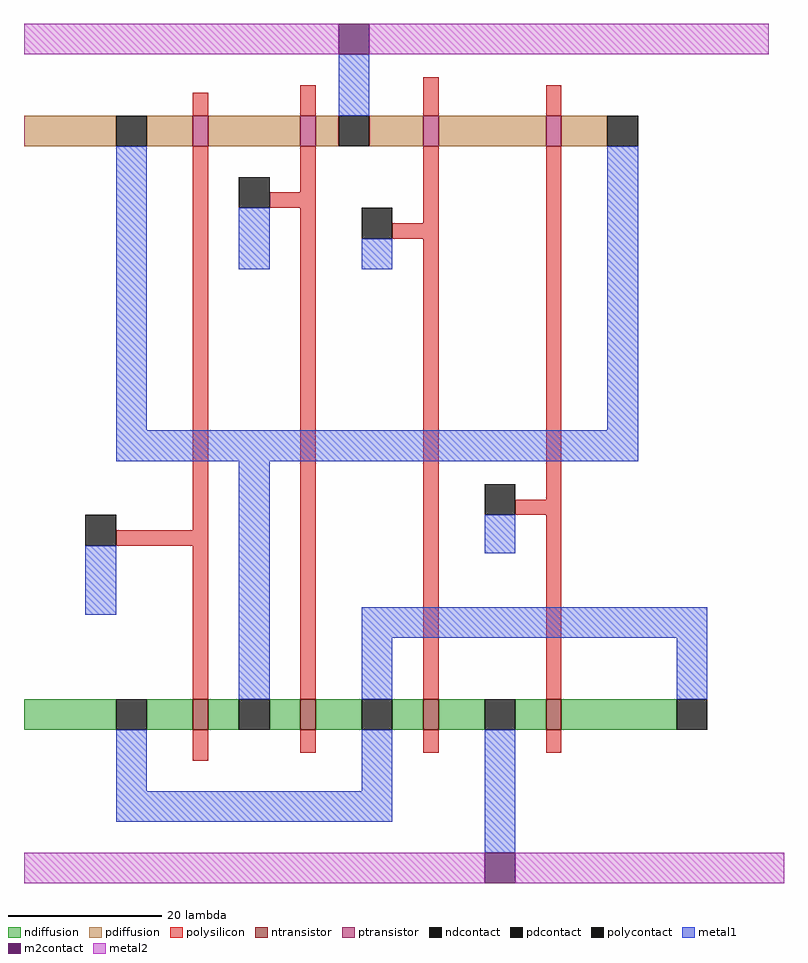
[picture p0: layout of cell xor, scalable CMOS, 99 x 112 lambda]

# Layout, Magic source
magic
tech scmos
<< polysilicon >>
rect -14 92 -12 95
rect 0 92 2 96
rect 16 92 18 97
rect 32 92 34 96
rect -14 38 -12 88
rect 0 82 2 88
rect -4 80 2 82
rect -24 36 -12 38
rect -14 16 -12 36
rect 0 16 2 80
rect 16 78 18 88
rect 12 76 18 78
rect 16 16 18 76
rect 32 42 34 88
rect 28 40 34 42
rect 32 16 34 40
rect -14 8 -12 12
rect 0 9 2 12
rect 16 9 18 12
rect 32 9 34 12
<< ndiffusion >>
rect -36 12 -24 16
rect -20 12 -14 16
rect -12 12 -8 16
rect -4 12 0 16
rect 2 12 8 16
rect 12 12 16 16
rect 18 12 24 16
rect 28 12 32 16
rect 34 12 49 16
<< pdiffusion >>
rect -36 88 -24 92
rect -20 88 -14 92
rect -12 88 0 92
rect 2 88 5 92
rect 9 88 16 92
rect 18 88 32 92
rect 34 88 40 92
<< metal1 >>
rect 5 92 9 100
rect -24 51 -20 88
rect -8 72 -4 80
rect 8 72 12 76
rect 40 51 44 88
rect -24 47 44 51
rect -28 27 -24 36
rect -8 16 -4 47
rect 24 35 28 40
rect 8 24 53 28
rect 8 16 12 24
rect 49 16 53 24
rect -24 4 -20 12
rect 8 4 12 12
rect -24 0 12 4
rect 24 -4 28 12
<< metal2 >>
rect -36 100 5 104
rect 9 100 61 104
rect -36 -8 24 -4
rect 28 -8 63 -4
<< ntransistor >>
rect -14 12 -12 16
rect 0 12 2 16
rect 16 12 18 16
rect 32 12 34 16
<< ptransistor >>
rect -14 88 -12 92
rect 0 88 2 92
rect 16 88 18 92
rect 32 88 34 92
<< polycontact >>
rect -28 36 -24 40
rect -8 80 -4 84
rect 8 76 12 80
rect 24 40 28 44
<< ndcontact >>
rect -24 12 -20 16
rect -8 12 -4 16
rect 8 12 12 16
rect 24 12 28 16
rect 49 12 53 16
<< pdcontact >>
rect -24 88 -20 92
rect 5 88 9 92
rect 40 88 44 92
<< m2contact >>
rect 5 100 9 104
rect 24 -8 28 -4
<< end >>
